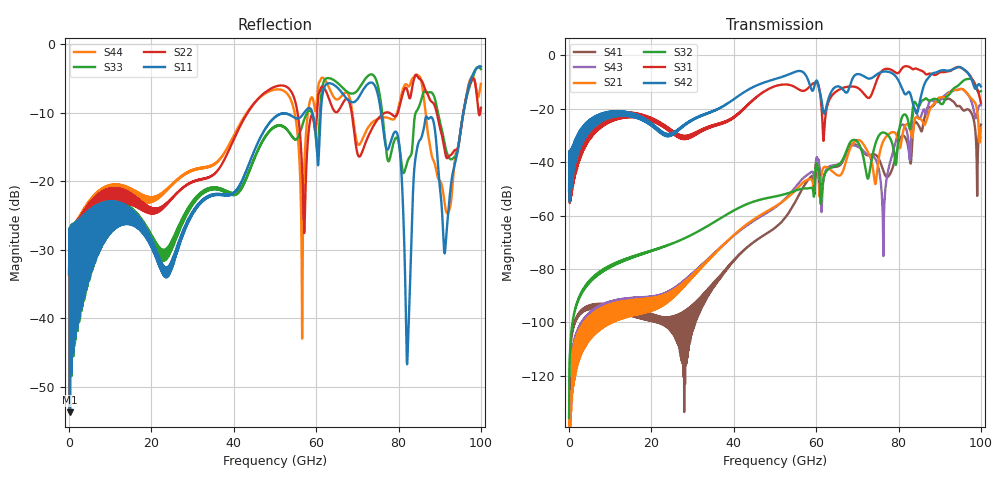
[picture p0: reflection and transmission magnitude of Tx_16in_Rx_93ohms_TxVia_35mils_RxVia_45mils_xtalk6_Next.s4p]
! Info: Touchstone file created by Circ.  Input file=Tx_16in_Rx_93ohms_TxVia_35mils_RxVia_45mils.circ
# Hz S RI R 50
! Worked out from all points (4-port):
!   10000 points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, 10 MHz to 100 GHz, reference 50 ohm
!   strongest paths, dB at 10 MHz, 25.01 GHz, 50.01 GHz, 75.01 GHz, 100 GHz:
!     S42: -50.7, -29.7, -8.9, -6.9, -11.7
!     S31: -50.7, -29.2, -11.6, -8.3, -17.8
!     S32: -135.7, -70.5, -52.8, -30.7, -13.4
!     S21: -145.2, -88.3, -56.6, -40.5, -27.3
!     S43: -143.7, -87.6, -57.0, -41.3, -18.6
!     S41: -135.7, -97.9, -64.6, -38.2, -25.9
!   lowest |S11| = -53.7 dB at 200 MHz (marker M1), VSWR 1.00, Z = 49.8 + j0.0206 ohm
!   |S11| at or under -10 dB: start of sweep to 57.05 GHz; 59.12 GHz to 61.11 GHz (1.989 GHz wide, 3.31 % of centre); 75.77 GHz to 95.75 GHz (19.98 GHz wide, 23.3 % of centre)
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1e7  0.021 -0.00288  3.06e-08 4.53e-08  0.000687 0.00284  1.02e-07 1.28e-07
     3.06e-08 4.53e-08  0.021 -0.00288  5.64e-08 1.53e-07  0.000682 0.00284
     0.000687 0.00284  5.64e-08 1.53e-07  0.0206 -0.00286  3.62e-08 5.43e-08
     1.02e-07 1.28e-07  0.000682 0.00284  3.62e-08 5.43e-08  0.0206 -0.00286
2e8  -0.00205 0.000206  1.51e-07 7.42e-07  0.00161 0.00407  4.67e-07 2.11e-06
     1.51e-07 7.42e-07  -0.00209 0.000332  3.01e-07 2.48e-06  0.0016 0.00412
     0.00161 0.00407  3.01e-07 2.48e-06  -0.002 0.000323  1.78e-07 8.86e-07
     4.67e-07 2.11e-06  0.0016 0.00412  1.78e-07 8.86e-07  -0.00205 0.000468
3.805e10  0.0619 -0.0508  -0.000307 5.01e-05  0.0227 -0.0538  -8.84e-05 3.56e-05
          -0.000307 5.01e-05  -0.0938 -0.1191  -0.000989 0.000251  -0.095 -0.0732
          0.0227 -0.0538  -0.000989 0.000251  0.0711 -0.0465  -0.000247 0.000184
          -8.84e-05 3.56e-05  -0.095 -0.0732  -0.000247 0.000184  -0.1008 -0.135
7.342e10  -0.3011 -0.4328  -0.00565 -0.00869  -0.00507 0.1815  -0.0117 -0.00735
          -0.00565 -0.00869  -0.0443 0.2346  -0.00658 0.00818  0.2988 -0.2229
          -0.00507 0.1815  -0.00658 0.00818  -0.3736 -0.4752  -0.0121 -0.00545
          -0.0117 -0.00735  0.2988 -0.2229  -0.0121 -0.00545  -0.0593 0.2594
7.635e10  -0.2317 0.0141  0.0138 -0.021  0.4322 0.3183  0.00306 0.006
          0.0138 -0.021  0.3104 -0.0407  0.0329 -0.0144  -0.0412 -0.4937
          0.4322 0.3183  0.0329 -0.0144  -0.2442 0.0875  -0.000318 2.88e-05
          0.00306 0.006  -0.0412 -0.4937  -0.000318 2.88e-05  0.2931 0.00232
8.221e10  -0.00453 -0.00306  -0.0324 0.0389  -0.1387 -0.6051  -0.0192 0.0102
          -0.0324 0.0389  -0.1832 -0.4165  -0.0588 -0.0263  -0.0202 0.1998
          -0.1387 -0.6051  -0.0588 -0.0263  0.0368 -0.1361  -0.0318 -5.44e-05
          -0.0192 0.0102  -0.0202 0.1998  -0.0318 -5.44e-05  -0.1323 -0.483
1e11  -0.5626 0.3978  0.0379 -0.0204  0.0806 0.1012  -0.0373 -0.0339
      0.0379 -0.0204  -0.3431 0.0353  0.0626 0.2049  0.0181 0.2604
      0.0806 0.1012  0.0626 0.2049  -0.5614 0.3502  0.0667 -0.0962
      -0.0373 -0.0339  0.0181 0.2604  0.0667 -0.0962  -0.5103 0.0764
